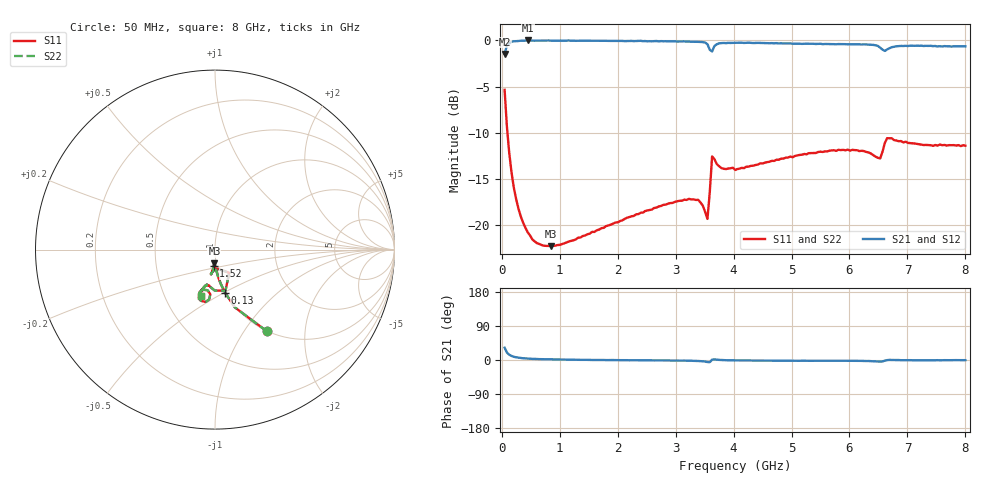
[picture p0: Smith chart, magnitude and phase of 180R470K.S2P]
!  American Technical Ceramics  Date:  3/13/98
!  One Norden Lane
!  Huntington Station,  NY.  11746-2102
!  Tel:  (516) 547-5700  Fax:  (516) 547-5748
!  Part Number  180r470k
!  Description: Porcelain, High Q, Low ESR
!  Application: Bypass, Coupling, Timing, Feedback
!  Tuning, Impedance Match, Blocking
# GHZ S DB R 50
! Freq  |S11|  S11 Ph  |S21|  S21 Ph  |S12|  S12 Ph  |S22|  S22 Ph
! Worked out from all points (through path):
!   201 points, 50 MHz to 8 GHz, reference 50 ohm
!   highest |S21| = 0.00 dB at 450 MHz (marker M1); lowest = -1.4 dB at 50 MHz (marker M2)
!   lowest |S11| = -22.2 dB at 850 MHz (marker M3), VSWR 1.17, Z = 49.1 - j7.62 ohm
!   |S11| at or under -10 dB: 99.14 MHz to end of sweep
!   |S22| runs from -22.2 to -5.3 dB; largest |S21 - S12| = 0
!   S11 on the Smith chart (normalised r, x): 50 MHz: 0.99, -1.28; 130 MHz: 0.99, -0.51; 1.52 GHz: 0.97, -0.18; 8 GHz: 0.75, -0.42
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0.05  -5.34 -57.5  -1.45 32.5  -1.45 32.5  -5.34 -57.5
0.09  -9.36 -71.0  -0.53 19.6  -0.53 19.6  -9.36 -71.0
0.13  -12.16 -76.9  -0.34 13.8  -0.34 13.8  -12.16 -76.9
0.25  -17.19 -84.5  -0.08 7.1  -0.08 7.1  -17.19 -84.5
0.45  -20.76 -88.9  0.00 3.8  0.00 3.8  -20.76 -88.9
0.85  -22.25 -92.2  -0.02 1.6  -0.02 1.6  -22.25 -92.2
1.4  -21.15 -93.8  -0.02 0.5  -0.02 0.5  -21.15 -93.8
1.52  -20.89 -94.5  -0.03 0.2  -0.03 0.2  -20.89 -94.5
2.71  -17.95 -97.6  -0.10 -1.0  -0.10 -1.0  -17.95 -97.6
3.39  -17.24 -99.1  -0.15 -2.7  -0.15 -2.7  -17.24 -99.1
3.55  -19.30 -81.2  -0.41 -5.4  -0.41 -5.4  -19.30 -81.2
3.59  -16.39 -58.5  -1.01 -5.8  -1.01 -5.8  -16.39 -58.5
3.63  -12.54 -75.7  -1.19 0.8  -1.19 0.8  -12.54 -75.7
3.67  -12.84 -90.4  -0.60 1.7  -0.60 1.7  -12.84 -90.4
3.75  -13.60 -97.5  -0.31 0.3  -0.31 0.3  -13.60 -97.5
4.03  -14.01 -103.0  -0.25 -1.0  -0.25 -1.0  -14.01 -103.0
5.38  -12.18 -109.1  -0.36 -2.1  -0.36 -2.1  -12.18 -109.1
6.13  -11.87 -109.7  -0.43 -2.4  -0.43 -2.4  -11.87 -109.7
6.53  -12.76 -100.3  -0.78 -4.3  -0.78 -4.3  -12.76 -100.3
6.61  -11.09 -96.7  -1.13 -1.8  -1.13 -1.8  -11.09 -96.7
6.69  -10.57 -103.6  -0.84 0.2  -0.84 0.2  -10.57 -103.6
8  -11.38 -107.3  -0.64 -0.4  -0.64 -0.4  -11.38 -107.3
